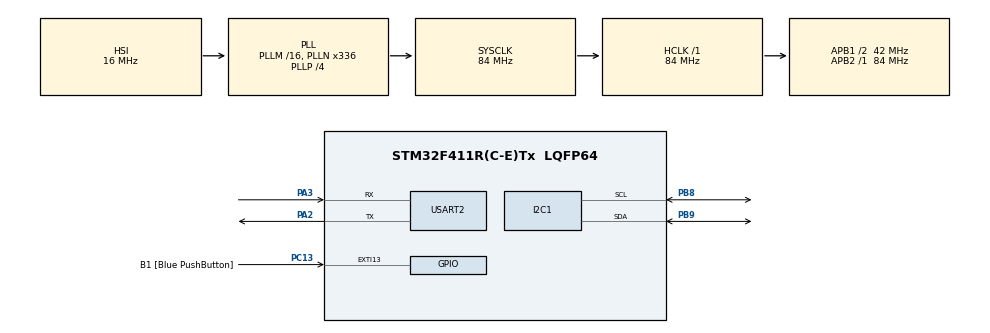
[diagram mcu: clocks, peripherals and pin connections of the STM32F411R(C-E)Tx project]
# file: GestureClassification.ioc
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Mcu.Family=STM32F4
Mcu.Name=STM32F411R(C-E)Tx
Mcu.Package=LQFP64
NVIC.PriorityGroup=NVIC_PRIORITYGROUP_0
PA13.GPIO_Label=TMS
PA13.Mode=Serial_Wire
PA13.Signal=SYS_JTMS-SWDIO
PA14.GPIO_Label=TCK
PA14.Mode=Serial_Wire
PA14.Signal=SYS_JTCK-SWCLK
PA2.Mode=Asynchronous
PA2.Signal=USART2_TX
PA3.Mode=Asynchronous
PA3.Signal=USART2_RX
PB3.GPIO_Label=SWO
PB3.Signal=SYS_JTDO-SWO
PB8.Mode=I2C
PB8.Signal=I2C1_SCL
PB9.Mode=I2C
PB9.Signal=I2C1_SDA
PC13-ANTI_TAMP.GPIO_Label=B1 [Blue PushButton]
PC13-ANTI_TAMP.GPIO_ModeDefaultEXTI=GPIO_MODE_IT_FALLING
PC13-ANTI_TAMP.Signal=GPXTI13
PC14-OSC32_IN.Mode=LSE-External-Oscillator
PC14-OSC32_IN.Signal=RCC_OSC32_IN
PC15-OSC32_OUT.Mode=LSE-External-Oscillator
PC15-OSC32_OUT.Signal=RCC_OSC32_OUT
PH0\ -\ OSC_IN.Mode=HSE-External-Clock-Source
PH0\ -\ OSC_IN.Signal=RCC_OSC_IN
PH1\ -\ OSC_OUT.Mode=HSE-External-Clock-Source
PH1\ -\ OSC_OUT.Signal=RCC_OSC_OUT
ProjectManager.HeapSize=0x200
ProjectManager.StackSize=0x400
ProjectManager.TargetToolchain=STM32CubeIDE
RCC.48MHZClocksFreq_Value=84000000
RCC.AHBFreq_Value=84000000
RCC.APB1CLKDivider=RCC_HCLK_DIV2
RCC.APB1Freq_Value=42000000
RCC.APB1TimFreq_Value=84000000
RCC.APB2Freq_Value=84000000
RCC.APB2TimFreq_Value=84000000
RCC.CortexFreq_Value=84000000
RCC.FLatency-AdvancedSettings=FLASH_LATENCY_2
RCC.HCLKFreq_Value=84000000
RCC.HSE_VALUE=8000000
RCC.HSI_VALUE=16000000
RCC.PLLN=336
RCC.PLLP=RCC_PLLP_DIV4
RCC.SYSCLKFreq_VALUE=84000000
RCC.SYSCLKSource=RCC_SYSCLKSOURCE_PLLCLK
RCC.VCOOutputFreq_Value=336000000
USART2.VirtualMode=VM_ASYNC
board=NUCLEO-F411RE

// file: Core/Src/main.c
/* USER CODE BEGIN Header */
/**
  ******************************************************************************
  * @file           : main.c
  * @brief          : Main program body
  ******************************************************************************
  * @attention
  *
  * Copyright (c) 2025 STMicroelectronics.
  * All rights reserved.
  *
  * This software is licensed under terms that can be found in the LICENSE file
  * in the root directory of this software component.
  * If no LICENSE file comes with this software, it is provided AS-IS.
  *
  ******************************************************************************
  */
/* USER CODE END Header */
#include "main.h"
#include <stdio.h>
#include <string.h>

/* USER CODE BEGIN Includes */
//#include "micro_mutable_op_resolver.h"
//#include "tflite/micro_error_reporter.h"
//#include "tflite/micro_interpreter.h"
//#include "tflite/schema_generated.h"

// Model data as a C array (generated via xxd -i)
//#include "gesture_model_data.h"
/* USER CODE END Includes */

/* USER CODE BEGIN PD */
#define ADXL345_ADDR (0x53 << 1)  // 7-bit address left-shifted for HAL
#define REG_DATA_FORMAT 0x31
#define REG_POWER_CTL 0x2D
#define REG_DATAX0 0x32
/* USER CODE END PD */

I2C_HandleTypeDef hi2c1;

UART_HandleTypeDef huart2;

/* USER CODE BEGIN PV */
// TFLite Micro global variables
//static uint8_t tensor_arena[TENSOR_ARENA_SIZE];

//tflite::MicroMutableOpResolver<5> resolver;
//static tflite::MicroInterpreter* interpreter;
//static TfLiteTensor* input_tensor;
//static TfLiteTensor* output_tensor;

// Buffers for sensor data and pre-processing
//static int16_t raw_buf[WINDOW_SIZE * 3];
//static float float_buf[WINDOW_SIZE * 3];
/* USER CODE END PV */

void SystemClock_Config(void);
static void MX_GPIO_Init(void);
static void MX_USART2_UART_Init(void);
static void MX_I2C1_Init(void);
/* USER CODE BEGIN PFP */
// TFLM interpreter
//void setup_tflm(void);

// Pre-process float buffer in place
// DC remove, normalize
//void preprocess_in_place(float* buf, size_t window_size);
/* USER CODE END PFP */

/* USER CODE BEGIN 0 */

// Map model, allocate tensors, get I/O pointers
//void setup_tflm(void) {
//	const tflite::Model* model = tflite::GetModel(gesture_model_tflite);
//	if(model->version() != TFLITE_SCHEMA_VERSION) while (1);
//
//	interpreter = new tflite::MicroInterpreter(model, resolver, tensor_arena, TENSOR_ARENA_SIZE, &micro_error_reporter);
//}
/* USER CODE END 0 */

int main(void)
{

  /* MCU Configuration--------------------------------------------------------*/

  /* Reset of all peripherals, Initializes the Flash interface and the Systick. */
  HAL_Init();

  /* Configure the system clock */
  SystemClock_Config();

  /* Initialize all configured peripherals */
  MX_GPIO_Init();
  MX_USART2_UART_Init();
  MX_I2C1_Init();
  /* USER CODE BEGIN 2 */
  uint8_t data = 0;

  // Set measurement mode
  data = 0x08;
  HAL_I2C_Mem_Write(&hi2c1, ADXL345_ADDR, REG_POWER_CTL, 1, &data, 1, HAL_MAX_DELAY);

  // Set data format (±2g)
  data = 0x00;
  HAL_I2C_Mem_Write(&hi2c1, ADXL345_ADDR, REG_DATA_FORMAT, 1, &data, 1, HAL_MAX_DELAY);
  /* USER CODE END 2 */

  /* Infinite loop */
  /* USER CODE BEGIN WHILE */
  uint8_t devid = 0;
  HAL_I2C_Mem_Read(&hi2c1, ADXL345_ADDR, 0x00, 1, &devid, 1, HAL_MAX_DELAY);
  char id_msg[32];
  snprintf(id_msg, sizeof(id_msg), "DEVID: 0x%02X\r\n", devid);
  HAL_UART_Transmit(&huart2, (uint8_t*)id_msg, strlen(id_msg), HAL_MAX_DELAY);
  HAL_Delay(1000); // Prevent output flooding

  while (1) {
    /* USER CODE END WHILE */

    /* USER CODE BEGIN 3 */
	  uint8_t raw[6];
	  int16_t x, y, z;
	  char msg[64];

	  // Read 6 bytes from DATAX0
	  HAL_I2C_Mem_Read(&hi2c1, ADXL345_ADDR, REG_DATAX0, 1, raw, 6, HAL_MAX_DELAY);

	  x = (int16_t)(raw[1] << 8 | raw[0]);
	  y = (int16_t)(raw[3] << 8 | raw[2]);
	  z = (int16_t)(raw[5] << 8 | raw[4]);

	  // Format as CSV
	  int len = snprintf(msg, sizeof(msg), "%d,%d,%d\r\n", x, y, z);
	  HAL_UART_Transmit(&huart2, (uint8_t*)msg, len, HAL_MAX_DELAY);

	  HAL_Delay(10);  // ~100 Hz sampling
  }
  /* USER CODE END 3 */
}

void SystemClock_Config(void)
{
  RCC_OscInitTypeDef RCC_OscInitStruct = {0};
  RCC_ClkInitTypeDef RCC_ClkInitStruct = {0};

  /** Configure the main internal regulator output voltage
  */
  __HAL_RCC_PWR_CLK_ENABLE();
  __HAL_PWR_VOLTAGESCALING_CONFIG(PWR_REGULATOR_VOLTAGE_SCALE1);

  /** Initializes the RCC Oscillators according to the specified parameters
  * in the RCC_OscInitTypeDef structure.
  */
  RCC_OscInitStruct.OscillatorType = RCC_OSCILLATORTYPE_HSI;
  RCC_OscInitStruct.HSIState = RCC_HSI_ON;
  RCC_OscInitStruct.HSICalibrationValue = RCC_HSICALIBRATION_DEFAULT;
  RCC_OscInitStruct.PLL.PLLState = RCC_PLL_ON;
  RCC_OscInitStruct.PLL.PLLSource = RCC_PLLSOURCE_HSI;
  RCC_OscInitStruct.PLL.PLLM = 16;
  RCC_OscInitStruct.PLL.PLLN = 336;
  RCC_OscInitStruct.PLL.PLLP = RCC_PLLP_DIV4;
  RCC_OscInitStruct.PLL.PLLQ = 4;
  if (HAL_RCC_OscConfig(&RCC_OscInitStruct) != HAL_OK)
  {
    Error_Handler();
  }

  /** Initializes the CPU, AHB and APB buses clocks
  */
  RCC_ClkInitStruct.ClockType = RCC_CLOCKTYPE_HCLK|RCC_CLOCKTYPE_SYSCLK
                              |RCC_CLOCKTYPE_PCLK1|RCC_CLOCKTYPE_PCLK2;
  RCC_ClkInitStruct.SYSCLKSource = RCC_SYSCLKSOURCE_PLLCLK;
  RCC_ClkInitStruct.AHBCLKDivider = RCC_SYSCLK_DIV1;
  RCC_ClkInitStruct.APB1CLKDivider = RCC_HCLK_DIV2;
  RCC_ClkInitStruct.APB2CLKDivider = RCC_HCLK_DIV1;

  if (HAL_RCC_ClockConfig(&RCC_ClkInitStruct, FLASH_LATENCY_2) != HAL_OK)
  {
    Error_Handler();
  }
}

static void MX_I2C1_Init(void)
{

  hi2c1.Instance = I2C1;
  hi2c1.Init.ClockSpeed = 100000;
  hi2c1.Init.DutyCycle = I2C_DUTYCYCLE_2;
  hi2c1.Init.OwnAddress1 = 0;
  hi2c1.Init.AddressingMode = I2C_ADDRESSINGMODE_7BIT;
  hi2c1.Init.DualAddressMode = I2C_DUALADDRESS_DISABLE;
  hi2c1.Init.OwnAddress2 = 0;
  hi2c1.Init.GeneralCallMode = I2C_GENERALCALL_DISABLE;
  hi2c1.Init.NoStretchMode = I2C_NOSTRETCH_DISABLE;
  if (HAL_I2C_Init(&hi2c1) != HAL_OK)
  {
    Error_Handler();
  }

}

static void MX_USART2_UART_Init(void)
{

  huart2.Instance = USART2;
  huart2.Init.BaudRate = 115200;
  huart2.Init.WordLength = UART_WORDLENGTH_8B;
  huart2.Init.StopBits = UART_STOPBITS_1;
  huart2.Init.Parity = UART_PARITY_NONE;
  huart2.Init.Mode = UART_MODE_TX_RX;
  huart2.Init.HwFlowCtl = UART_HWCONTROL_NONE;
  huart2.Init.OverSampling = UART_OVERSAMPLING_16;
  if (HAL_UART_Init(&huart2) != HAL_OK)
  {
    Error_Handler();
  }

}

static void MX_GPIO_Init(void)
{
  GPIO_InitTypeDef GPIO_InitStruct = {0};

  /* GPIO Ports Clock Enable */
  __HAL_RCC_GPIOC_CLK_ENABLE();
  __HAL_RCC_GPIOH_CLK_ENABLE();
  __HAL_RCC_GPIOA_CLK_ENABLE();
  __HAL_RCC_GPIOB_CLK_ENABLE();

  /*Configure GPIO pin : B1_Pin */
  GPIO_InitStruct.Pin = B1_Pin;
  GPIO_InitStruct.Mode = GPIO_MODE_IT_FALLING;
  GPIO_InitStruct.Pull = GPIO_NOPULL;
  HAL_GPIO_Init(B1_GPIO_Port, &GPIO_InitStruct);

}

void Error_Handler(void)
{
  __disable_irq();
  while (1)
  {
  }
}
